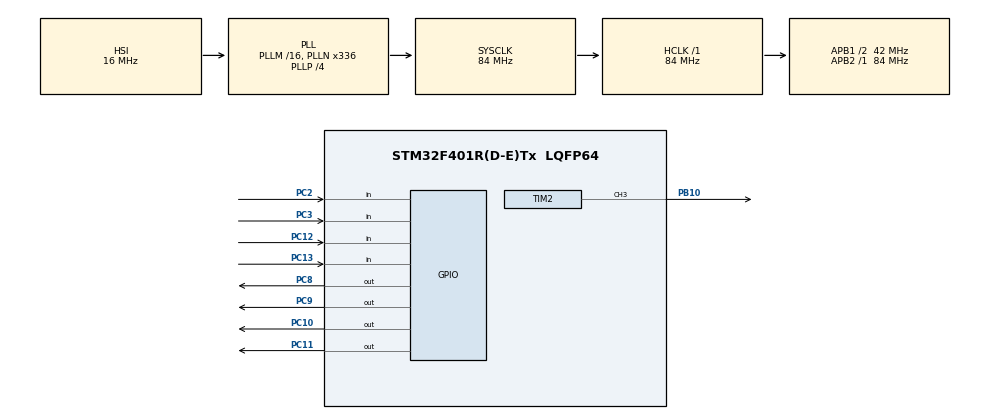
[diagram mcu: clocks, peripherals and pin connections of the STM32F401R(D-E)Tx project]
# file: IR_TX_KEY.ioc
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Mcu.Family=STM32F4
Mcu.Name=STM32F401R(D-E)Tx
Mcu.Package=LQFP64
NVIC.PriorityGroup=NVIC_PRIORITYGROUP_4
NVIC.TIM3_IRQn=true\:0\:0\:false\:false\:true\:true\:true\:true
NVIC.TIM4_IRQn=true\:2\:0\:true\:false\:true\:true\:true\:true
PA13.GPIO_Label=TMS
PA13.Mode=Trace_Asynchronous_SW
PA13.Signal=SYS_JTMS-SWDIO
PA14.GPIO_Label=TCK
PA14.Mode=Trace_Asynchronous_SW
PA14.Signal=SYS_JTCK-SWCLK
PB10.Signal=S_TIM2_CH3
PB3.GPIO_Label=SWO
PB3.Mode=Trace_Asynchronous_SW
PB3.Signal=SYS_JTDO-SWO
PC10.Signal=GPIO_Output
PC11.Signal=GPIO_Output
PC12.Signal=GPIO_Input
PC13-ANTI_TAMP.Signal=GPIO_Input
PC14-OSC32_IN.Mode=LSE-External-Oscillator
PC14-OSC32_IN.Signal=RCC_OSC32_IN
PC15-OSC32_OUT.Mode=LSE-External-Oscillator
PC15-OSC32_OUT.Signal=RCC_OSC32_OUT
PC2.Signal=GPIO_Input
PC3.Signal=GPIO_Input
PC8.Signal=GPIO_Output
PC9.Signal=GPIO_Output
PH0\ -\ OSC_IN.Mode=HSE-External-Clock-Source
PH0\ -\ OSC_IN.Signal=RCC_OSC_IN
PH1\ -\ OSC_OUT.Mode=HSE-External-Clock-Source
PH1\ -\ OSC_OUT.Signal=RCC_OSC_OUT
ProjectManager.HeapSize=0x200
ProjectManager.StackSize=0x400
ProjectManager.TargetToolchain=STM32CubeIDE
RCC.48MHZClocksFreq_Value=48000000
RCC.AHBFreq_Value=84000000
RCC.APB1CLKDivider=RCC_HCLK_DIV2
RCC.APB1Freq_Value=42000000
RCC.APB1TimFreq_Value=84000000
RCC.APB2Freq_Value=84000000
RCC.APB2TimFreq_Value=84000000
RCC.CortexFreq_Value=84000000
RCC.HCLKFreq_Value=84000000
RCC.HSE_VALUE=8000000
RCC.HSI_VALUE=16000000
RCC.PLLN=336
RCC.PLLP=RCC_PLLP_DIV4
RCC.PLLQ=7
RCC.SYSCLKFreq_VALUE=84000000
RCC.SYSCLKSource=RCC_SYSCLKSOURCE_PLLCLK
RCC.VCOOutputFreq_Value=336000000
SH.S_TIM2_CH3.0=TIM2_CH3,PWM Generation3 CH3
TIM2.Channel-PWM\ Generation3\ CH3=TIM_CHANNEL_3
TIM2.Period=9
TIM2.Prescaler=220
TIM2.Pulse-PWM\ Generation3\ CH3=5
TIM3.Period=99
TIM3.Prescaler=349
TIM4.Period=19
TIM4.Prescaler=8399
VP_TIM2_VS_ClockSourceINT.Mode=Internal
VP_TIM3_VS_ClockSourceINT.Mode=Internal
VP_TIM4_VS_ClockSourceINT.Mode=Internal
board=NUCLEO-F401RE

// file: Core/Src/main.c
/* USER CODE BEGIN Header */
/**
  ******************************************************************************
  * @file           : main.c
  * @brief          : Main program body
  ******************************************************************************
  * @attention
  *
  * Copyright (c) 2026 STMicroelectronics.
  * All rights reserved.
  *
  * This software is licensed under terms that can be found in the LICENSE file
  * in the root directory of this software component.
  * If no LICENSE file comes with this software, it is provided AS-IS.
  *
  ******************************************************************************
  */
/* USER CODE END Header */
#include "main.h"

/* USER CODE BEGIN Includes */
#include "stdio.h"
#include "string.h"

/* USER CODE END Includes */

/* USER CODE BEGIN PTD */
// Stati Tx IR
typedef enum {
    TX_STATE_IDLE  = 0,
    TX_STATE_START = 1,
    TX_STATE_DATA  = 2,
    TX_STATE_STOP  = 3
} TxState_t;

// Keyboard
typedef struct {
	char character;
	uint8_t duration;
	uint8_t sent;
	uint8_t idx;
} button;

typedef struct {
    GPIO_TypeDef* port;
    uint16_t pin;
} PinMap;
/* USER CODE END PTD */

/* USER CODE BEGIN PD */
// KEYBOARD
// Keyboard Rows/Columns
#define KEY_C0 GPIOC,GPIO_PIN_11
#define KEY_C1 GPIOC,GPIO_PIN_10
#define KEY_C2 GPIOC,GPIO_PIN_9
#define KEY_C3 GPIOC,GPIO_PIN_8
#define KEY_R0 GPIOC,GPIO_PIN_3
#define KEY_R1 GPIOC,GPIO_PIN_2
#define KEY_R2 GPIOC,GPIO_PIN_13
#define KEY_R3 GPIOC,GPIO_PIN_12

// Keyboard Dimension
#define DIM 4

// Keyboard Buttons
#define DEBOUNCE 3
#define MAX_DURATION 250

/* USER CODE END PD */

TIM_HandleTypeDef htim2;
TIM_HandleTypeDef htim3;
TIM_HandleTypeDef htim4;

/* USER CODE BEGIN PV */
// KEYBOARD
PinMap columns[] = {
    { KEY_C3 },
    { KEY_C2 },
    { KEY_C1 },
    { KEY_C0 }
};

PinMap rows[] = {
    { KEY_R0 },
    { KEY_R1 },
    { KEY_R2 },
    { KEY_R3 }
};

volatile button keyboard[DIM][DIM] = {
    { {'C', 0, 0, 12}, {'D', 0, 0, 13}, {'E', 0, 0, 14}, {'F', 0, 0, 15} },
    { {'8', 0, 0, 8}, {'9', 0, 0, 9}, {'A', 0, 0, 10}, {'B', 0, 0, 11} },
    { {'4', 0, 0, 4}, {'5', 0, 0, 5}, {'6', 0, 0, 6}, {'7', 0, 0, 7} },
    { {'0', 0, 0, 0}, {'1', 0, 0, 1}, {'2', 0, 0, 2}, {'3', 0, 0, 3} }
};

uint8_t active_col = 0;

// TX IR
volatile uint8_t  tx_data_buffer = 'G';
volatile uint8_t  bit_counter = 0;
volatile TxState_t tx_state = TX_STATE_IDLE;

/* USER CODE END PV */

void SystemClock_Config(void);
static void MX_GPIO_Init(void);
static void MX_TIM2_Init(void);
static void MX_TIM3_Init(void);
static void MX_TIM4_Init(void);

/* USER CODE BEGIN 0 */

// Avvia l'invio di un singolo byte tramite IR UART
void IR_UART_SendByte(uint8_t data)
{
    // Solo se il canale TX è libero posso iniziare nuova trasmissione(IDLE)
    if (tx_state == TX_STATE_IDLE)
    {
        tx_data_buffer = data;
        tx_state = TX_STATE_START;      // Ci prepariamo a inviare lo Start Bit

        __HAL_TIM_SET_COUNTER(&htim3, 0); // Azzera CNT di TIM3 affinchè lo Start Bit duri un bit time pieno
        // e non di meno perchè magari CNT era ad un altro valore. CNT arriva a ARR (99) prima di andare in
        // overflow e scattare l'ISR, se dalla scorsa ricezione CNT era ad un altro valore non conta fino a
        // 100 ma di meno
        HAL_TIM_Base_Start_IT(&htim3); // TIM3 (2400 Hz) scandisce i bit nella Trasmissione IR
    }
}

void HAL_TIM_PeriodElapsedCallback(TIM_HandleTypeDef *htim)
{
    if (htim->Instance == TIM3) // 2400 Hz, scandisce i bit da mandare (TX IR)
    {
        switch (tx_state)
        {
            case TX_STATE_IDLE:
            	// HIGH -> LED OFF
                HAL_TIM_PWM_Stop(&htim2, TIM_CHANNEL_3);
                break;

            case TX_STATE_START:
            	// START BIT = LOW -> LED ON per 1/2400 s
                HAL_TIM_PWM_Start(&htim2, TIM_CHANNEL_3); // IR LED ON
                tx_state = TX_STATE_DATA; // Passa alla gestione dati
                bit_counter = 0;          // Resetta contatore bit dati
                break;

            case TX_STATE_DATA:
            	// Inviamo 8 bit
            	// Bit Masking
            	// Esempio '1': 0(1)00 0001  >> 6  =  0000 000(1)
            	// 0000 000(1) & 0000 0001 = 0000 0001
            	// Esempio '1': (0)100 0001  >> 7  =  0000 000(0)
				// 0000 000(0) & 0000 0001 = 0000 0000

                if (((tx_data_buffer >> bit_counter) & 0x01) == 0)
                {
                    // 0 -> LED ON
                	HAL_TIM_PWM_Start(&htim2, TIM_CHANNEL_3);
                }
                else
                {
                    // 1 -> LED OFF
                	HAL_TIM_PWM_Stop(&htim2, TIM_CHANNEL_3);
                }

                bit_counter++; // Avanziamo nel buffer

                if (bit_counter >= 8) // Quando abbiamo finito
                {
                    tx_state = TX_STATE_STOP;
                }
                break;

            case TX_STATE_STOP:
            	// STOP BIT = HIGH -> LED OFF
                HAL_TIM_PWM_Stop(&htim2, TIM_CHANNEL_3);

                // Ritorniamo in IDLE
                tx_state = TX_STATE_IDLE;
                // Finchè non premiamo altri tasti non abbiamo bisogno della Callback a 2400Hz
                HAL_TIM_Base_Stop_IT(&htim3);
                break;
        }
    }

    if (htim->Instance == TIM4) { // 500 Hz (scansione colonne KEYBOARD)
    	        for(int r=0; r<DIM; r++){
    	        	// Se il tasto è premuto
    	            if(HAL_GPIO_ReadPin(rows[r].port, rows[r].pin) == GPIO_PIN_RESET){
    	            	// Se è premuto da poco
    	                if(keyboard[r][active_col].duration < MAX_DURATION ) {
    	                    keyboard[r][active_col].duration++; // Aggiorniamo
    	                }
    	            } else { // Se il tasto non è premuto azzeriamo tutto
    	                keyboard[r][active_col].duration = 0;
    	                keyboard[r][active_col].sent = 0;
    	            }
    	        }
    	        // Deselezioniamo la colonna appena letta
    	        HAL_GPIO_WritePin(columns[active_col].port, columns[active_col].pin, GPIO_PIN_RESET);

    	        // Aggiorniamo la colonna da attivare
    	        active_col=(active_col+1) % DIM;

    	        // Attiviamo la nuova colonna
    	        HAL_GPIO_WritePin(columns[active_col].port, columns[active_col].pin, GPIO_PIN_SET);
	}
}

/* USER CODE END 0 */

int main(void)
{

  /* MCU Configuration--------------------------------------------------------*/

  /* Reset of all peripherals, Initializes the Flash interface and the Systick. */
  HAL_Init();

  /* Configure the system clock */
  SystemClock_Config();

  /* Initialize all configured peripherals */
  MX_GPIO_Init();
  MX_TIM2_Init();
  MX_TIM3_Init();
  MX_TIM4_Init();
  /* USER CODE BEGIN 2 */

  // Prepara la scansione della keyboard
  HAL_TIM_Base_Start_IT(&htim4);
  HAL_GPIO_WritePin(columns[active_col].port, columns[active_col].pin, GPIO_PIN_SET);

  /* USER CODE END 2 */

  /* Infinite loop */
  while (1)
  {

    /* USER CODE BEGIN 3 */
	  // --- KEYBOARD SCANNING ---
	  	  for(int j=0;j<DIM;j++){
	  	  		  for(int i=0;i<DIM;i++){
	  	  			  if((keyboard[i][j].duration>=DEBOUNCE)&&(keyboard[i][j].sent==0) ){
	  	  				  IR_UART_SendByte(keyboard[i][j].character);
	  	  				  keyboard[i][j].sent=1;
	  	  			  }
	  	  		  }
	  	  }
  }
  /* USER CODE END 3 */
}

void SystemClock_Config(void)
{
  RCC_OscInitTypeDef RCC_OscInitStruct = {0};
  RCC_ClkInitTypeDef RCC_ClkInitStruct = {0};

  /** Configure the main internal regulator output voltage
  */
  __HAL_RCC_PWR_CLK_ENABLE();
  __HAL_PWR_VOLTAGESCALING_CONFIG(PWR_REGULATOR_VOLTAGE_SCALE2);

  /** Initializes the RCC Oscillators according to the specified parameters
  * in the RCC_OscInitTypeDef structure.
  */
  RCC_OscInitStruct.OscillatorType = RCC_OSCILLATORTYPE_HSI;
  RCC_OscInitStruct.HSIState = RCC_HSI_ON;
  RCC_OscInitStruct.HSICalibrationValue = RCC_HSICALIBRATION_DEFAULT;
  RCC_OscInitStruct.PLL.PLLState = RCC_PLL_ON;
  RCC_OscInitStruct.PLL.PLLSource = RCC_PLLSOURCE_HSI;
  RCC_OscInitStruct.PLL.PLLM = 16;
  RCC_OscInitStruct.PLL.PLLN = 336;
  RCC_OscInitStruct.PLL.PLLP = RCC_PLLP_DIV4;
  RCC_OscInitStruct.PLL.PLLQ = 7;
  if (HAL_RCC_OscConfig(&RCC_OscInitStruct) != HAL_OK)
  {
    Error_Handler();
  }

  /** Initializes the CPU, AHB and APB buses clocks
  */
  RCC_ClkInitStruct.ClockType = RCC_CLOCKTYPE_HCLK|RCC_CLOCKTYPE_SYSCLK
                              |RCC_CLOCKTYPE_PCLK1|RCC_CLOCKTYPE_PCLK2;
  RCC_ClkInitStruct.SYSCLKSource = RCC_SYSCLKSOURCE_PLLCLK;
  RCC_ClkInitStruct.AHBCLKDivider = RCC_SYSCLK_DIV1;
  RCC_ClkInitStruct.APB1CLKDivider = RCC_HCLK_DIV2;
  RCC_ClkInitStruct.APB2CLKDivider = RCC_HCLK_DIV1;

  if (HAL_RCC_ClockConfig(&RCC_ClkInitStruct, FLASH_LATENCY_2) != HAL_OK)
  {
    Error_Handler();
  }
}

static void MX_TIM2_Init(void)
{

  TIM_ClockConfigTypeDef sClockSourceConfig = {0};
  TIM_MasterConfigTypeDef sMasterConfig = {0};
  TIM_OC_InitTypeDef sConfigOC = {0};

  htim2.Instance = TIM2;
  htim2.Init.Prescaler = 220;
  htim2.Init.CounterMode = TIM_COUNTERMODE_UP;
  htim2.Init.Period = 9;
  htim2.Init.ClockDivision = TIM_CLOCKDIVISION_DIV1;
  htim2.Init.AutoReloadPreload = TIM_AUTORELOAD_PRELOAD_DISABLE;
  if (HAL_TIM_Base_Init(&htim2) != HAL_OK)
  {
    Error_Handler();
  }
  sClockSourceConfig.ClockSource = TIM_CLOCKSOURCE_INTERNAL;
  if (HAL_TIM_ConfigClockSource(&htim2, &sClockSourceConfig) != HAL_OK)
  {
    Error_Handler();
  }
  if (HAL_TIM_PWM_Init(&htim2) != HAL_OK)
  {
    Error_Handler();
  }
  sMasterConfig.MasterOutputTrigger = TIM_TRGO_RESET;
  sMasterConfig.MasterSlaveMode = TIM_MASTERSLAVEMODE_DISABLE;
  if (HAL_TIMEx_MasterConfigSynchronization(&htim2, &sMasterConfig) != HAL_OK)
  {
    Error_Handler();
  }
  sConfigOC.OCMode = TIM_OCMODE_PWM1;
  sConfigOC.Pulse = 5;
  sConfigOC.OCPolarity = TIM_OCPOLARITY_HIGH;
  sConfigOC.OCFastMode = TIM_OCFAST_DISABLE;
  if (HAL_TIM_PWM_ConfigChannel(&htim2, &sConfigOC, TIM_CHANNEL_3) != HAL_OK)
  {
    Error_Handler();
  }
  HAL_TIM_MspPostInit(&htim2);

}

static void MX_TIM3_Init(void)
{

  TIM_ClockConfigTypeDef sClockSourceConfig = {0};
  TIM_MasterConfigTypeDef sMasterConfig = {0};

  htim3.Instance = TIM3;
  htim3.Init.Prescaler = 349;
  htim3.Init.CounterMode = TIM_COUNTERMODE_UP;
  htim3.Init.Period = 99;
  htim3.Init.ClockDivision = TIM_CLOCKDIVISION_DIV1;
  htim3.Init.AutoReloadPreload = TIM_AUTORELOAD_PRELOAD_DISABLE;
  if (HAL_TIM_Base_Init(&htim3) != HAL_OK)
  {
    Error_Handler();
  }
  sClockSourceConfig.ClockSource = TIM_CLOCKSOURCE_INTERNAL;
  if (HAL_TIM_ConfigClockSource(&htim3, &sClockSourceConfig) != HAL_OK)
  {
    Error_Handler();
  }
  sMasterConfig.MasterOutputTrigger = TIM_TRGO_RESET;
  sMasterConfig.MasterSlaveMode = TIM_MASTERSLAVEMODE_DISABLE;
  if (HAL_TIMEx_MasterConfigSynchronization(&htim3, &sMasterConfig) != HAL_OK)
  {
    Error_Handler();
  }

}

static void MX_TIM4_Init(void)
{

  TIM_ClockConfigTypeDef sClockSourceConfig = {0};
  TIM_MasterConfigTypeDef sMasterConfig = {0};

  htim4.Instance = TIM4;
  htim4.Init.Prescaler = 8399;
  htim4.Init.CounterMode = TIM_COUNTERMODE_UP;
  htim4.Init.Period = 19;
  htim4.Init.ClockDivision = TIM_CLOCKDIVISION_DIV1;
  htim4.Init.AutoReloadPreload = TIM_AUTORELOAD_PRELOAD_DISABLE;
  if (HAL_TIM_Base_Init(&htim4) != HAL_OK)
  {
    Error_Handler();
  }
  sClockSourceConfig.ClockSource = TIM_CLOCKSOURCE_INTERNAL;
  if (HAL_TIM_ConfigClockSource(&htim4, &sClockSourceConfig) != HAL_OK)
  {
    Error_Handler();
  }
  sMasterConfig.MasterOutputTrigger = TIM_TRGO_RESET;
  sMasterConfig.MasterSlaveMode = TIM_MASTERSLAVEMODE_DISABLE;
  if (HAL_TIMEx_MasterConfigSynchronization(&htim4, &sMasterConfig) != HAL_OK)
  {
    Error_Handler();
  }

}

static void MX_GPIO_Init(void)
{
  GPIO_InitTypeDef GPIO_InitStruct = {0};

  /* GPIO Ports Clock Enable */
  __HAL_RCC_GPIOC_CLK_ENABLE();
  __HAL_RCC_GPIOH_CLK_ENABLE();
  __HAL_RCC_GPIOB_CLK_ENABLE();
  __HAL_RCC_GPIOA_CLK_ENABLE();

  /*Configure GPIO pin Output Level */
  HAL_GPIO_WritePin(GPIOC, GPIO_PIN_8|GPIO_PIN_9|GPIO_PIN_10|GPIO_PIN_11, GPIO_PIN_RESET);

  /*Configure GPIO pins : PC13 PC2 PC3 PC12 */
  GPIO_InitStruct.Pin = GPIO_PIN_13|GPIO_PIN_2|GPIO_PIN_3|GPIO_PIN_12;
  GPIO_InitStruct.Mode = GPIO_MODE_INPUT;
  GPIO_InitStruct.Pull = GPIO_NOPULL;
  HAL_GPIO_Init(GPIOC, &GPIO_InitStruct);

  /*Configure GPIO pins : PC8 PC9 PC10 PC11 */
  GPIO_InitStruct.Pin = GPIO_PIN_8|GPIO_PIN_9|GPIO_PIN_10|GPIO_PIN_11;
  GPIO_InitStruct.Mode = GPIO_MODE_OUTPUT_PP;
  GPIO_InitStruct.Pull = GPIO_NOPULL;
  GPIO_InitStruct.Speed = GPIO_SPEED_FREQ_LOW;
  HAL_GPIO_Init(GPIOC, &GPIO_InitStruct);

}

void Error_Handler(void)
{
  __disable_irq();
  while (1)
  {
  }
}
